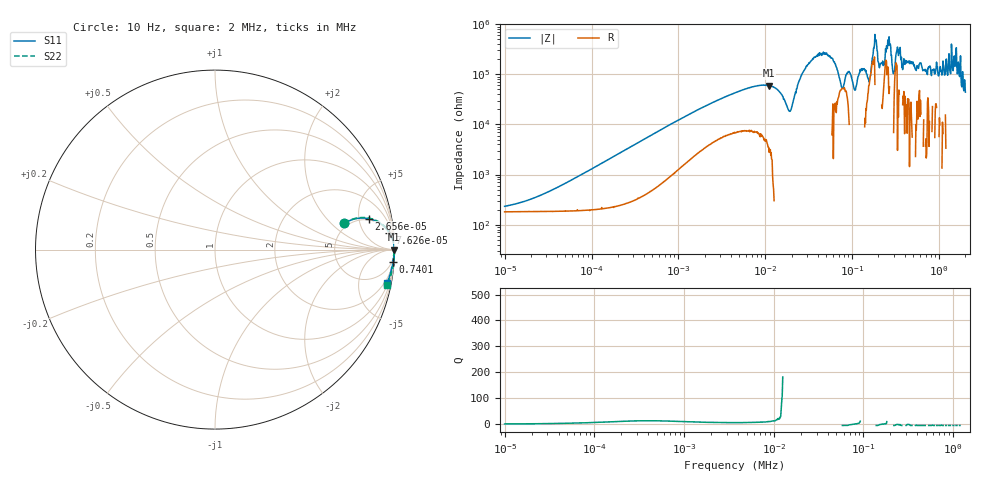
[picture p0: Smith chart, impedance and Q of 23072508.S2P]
!Agilent Technologies,E5061B,MY49204007,A.02.12
!Date: Wed Jul 23 11:07:03 2025
!Data & Calibration Information:
!Freq	S11:SOLT2(ON)	S21:SOLT2(ON)	S12:SOLT2(ON)	S22:SOLT2(ON)
# Hz S dB R 50
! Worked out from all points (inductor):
!   1040 points, 10 Hz to 2 MHz, reference 50 ohm
!   read as one part in series: L = 2.05 H near 43.45 Hz
!   highest Q = 19.4 at 11.06 kHz (marker M1), where L = 859 mH
!   self-resonance near 19.32 kHz
!   S11 on the Smith chart (normalised r, x): 10 Hz: 4.62, +2.92; 26.56 Hz: 4.70, +6.95; 76.26 Hz: 5, +19; 740.1 kHz: 3, -29; 2 MHz: 1, -10
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10  -2.68 11.4  -10.01 -27.6  -10.01 -27.5  -2.66 11.6
26.564  -1.15 11.3  -13.04 -50.8  -13.04 -50.7  -1.14 11.5
76.259  -0.21 5.5  -20.16 -73.3  -20.16 -73.2  -0.20 5.7
77.209  -0.21 5.5  -20.26 -73.5  -20.26 -73.4  -0.19 5.6
588.818  -0.01 0.8  -37.38 -84.5  -37.38 -84.4  0.00 0.9
4498.482  -0.01 0.1  -52.65 -80.8  -52.65 -80.5  0.01 0.3
11060.48  -0.01 -0.1  -55.52 -87.3  -55.53 -86.7  0.01 0.1
19097.17  -0.08 -0.1  -45.27 -167.7  -45.25 -167.6  -0.02 0.1
34305.13  -0.01 -0.1  -65.70 101.5  -65.53 102.5  0.01 -0.0
52355.25  -0.01 -0.3  -67.42 92.1  -67.76 89.9  0.01 -0.2
75946.9  -0.01 -0.4  -54.70 15.3  -54.57 15.0  -0.04 -0.4
91012.27  -0.01 -0.5  -60.80 -82.8  -61.12 -82.8  0.00 -0.3
106678.2  -0.06 -0.6  -53.75 -174.5  -53.73 -175.5  -0.00 -0.4
156570.3  -0.01 -0.8  -56.95 28.9  -57.42 32.2  -0.03 -0.8
182035  -0.01 -1.0  -75.92 -85.1  -73.15 -67.1  0.00 -0.8
215031.1  -0.02 -1.0  -64.24 99.6  -63.64 105.6  -0.00 -1.1
261946.5  -0.01 -1.4  -72.80 81.6  -72.75 98.0  -0.00 -1.3
294710.7  -0.03 -1.5  -60.49 99.3  -60.83 94.2  -0.01 -1.5
339251.9  -0.02 -1.8  -67.53 84.9  -67.26 74.2  -0.00 -1.7
740061.9  -0.05 -3.9  -62.43 70.9  -62.59 68.8  -0.01 -4.5
1574823  -0.14 -8.4  -70.80 -178.7  -70.60 177.0  -0.12 -9.1
2000000  -0.21 -11.0  -53.19 -127.6  -52.98 -122.5  -0.19 -11.8
